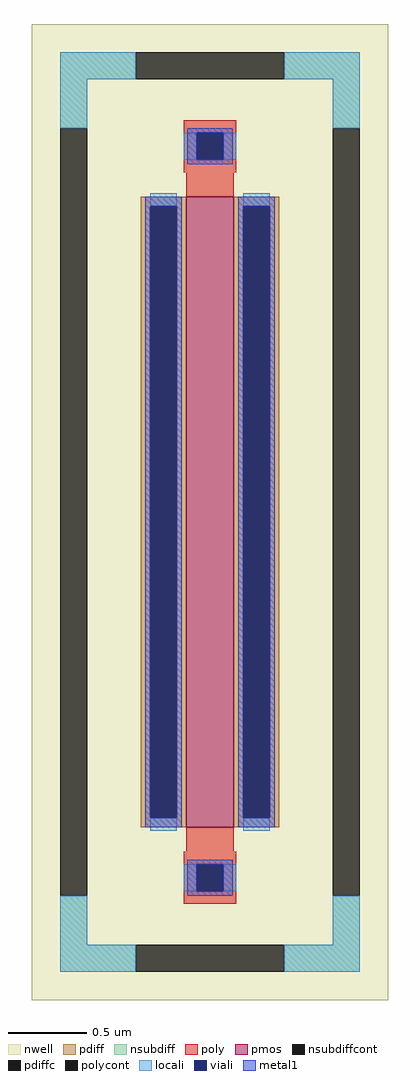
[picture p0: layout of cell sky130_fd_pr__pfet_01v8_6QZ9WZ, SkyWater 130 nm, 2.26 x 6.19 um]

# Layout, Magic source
magic
tech sky130A
magscale 1 2
<< nwell >>
rect -226 -619 226 619
<< pmos >>
rect -30 -400 30 400
<< pdiff >>
rect -88 388 -30 400
rect -88 -388 -76 388
rect -42 -388 -30 388
rect -88 -400 -30 -388
rect 30 388 88 400
rect 30 -388 42 388
rect 76 -388 88 388
rect 30 -400 88 -388
<< pdiffc >>
rect -76 -388 -42 388
rect 42 -388 76 388
<< nsubdiff >>
rect -190 549 -94 583
rect 94 549 190 583
rect -190 487 -156 549
rect 156 487 190 549
rect -190 -549 -156 -487
rect 156 -549 190 -487
rect -190 -583 -94 -549
rect 94 -583 190 -549
<< nsubdiffcont >>
rect -94 549 94 583
rect -190 -487 -156 487
rect 156 -487 190 487
rect -94 -583 94 -549
<< poly >>
rect -33 481 33 497
rect -33 447 -17 481
rect 17 447 33 481
rect -33 431 33 447
rect -30 400 30 431
rect -30 -431 30 -400
rect -33 -447 33 -431
rect -33 -481 -17 -447
rect 17 -481 33 -447
rect -33 -497 33 -481
<< polycont >>
rect -17 447 17 481
rect -17 -481 17 -447
<< locali >>
rect -190 549 -94 583
rect 94 549 190 583
rect -190 487 -156 549
rect 156 487 190 549
rect -33 447 -17 481
rect 17 447 33 481
rect -76 388 -42 404
rect -76 -404 -42 -388
rect 42 388 76 404
rect 42 -404 76 -388
rect -33 -481 -17 -447
rect 17 -481 33 -447
rect -190 -549 -156 -487
rect 156 -549 190 -487
rect -190 -583 -94 -549
rect 94 -583 190 -549
<< viali >>
rect -17 447 17 481
rect -76 -388 -42 388
rect 42 -388 76 388
rect -17 -481 17 -447
<< metal1 >>
rect -29 481 29 487
rect -29 447 -17 481
rect 17 447 29 481
rect -29 441 29 447
rect -82 388 -36 400
rect -82 -388 -76 388
rect -42 -388 -36 388
rect -82 -400 -36 -388
rect 36 388 82 400
rect 36 -388 42 388
rect 76 -388 82 388
rect 36 -400 82 -388
rect -29 -447 29 -441
rect -29 -481 -17 -447
rect 17 -481 29 -447
rect -29 -487 29 -481
<< properties >>
string FIXED_BBOX -173 -566 173 566
string gencell sky130_fd_pr__pfet_01v8
string library sky130
string parameters w 4.0 l 0.3 m 1 nf 1 diffcov 100 polycov 100 guard 1 glc 1 grc 1 gtc 1 gbc 1 tbcov 100 rlcov 100 topc 1 botc 1 poverlap 0 doverlap 1 lmin 0.15 wmin 0.42 compatible {sky130_fd_pr__pfet_01v8  sky130_fd_pr__pfet_01v8_lvt sky130_fd_pr__pfet_01v8_hvt  sky130_fd_pr__pfet_g5v0d10v5} full_metal 1 viasrc 100 viadrn 100 viagate 100 viagb 0 viagr 0 viagl 0 viagt 0
<< end >>
